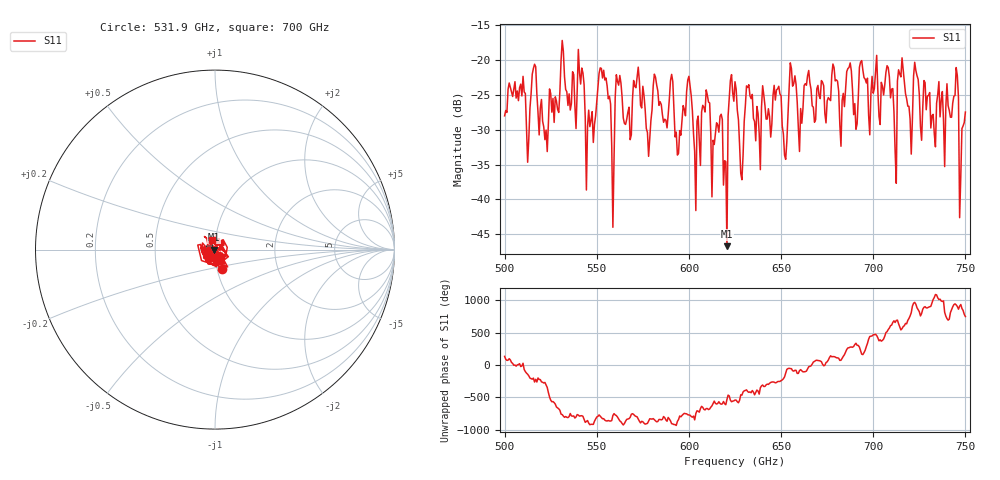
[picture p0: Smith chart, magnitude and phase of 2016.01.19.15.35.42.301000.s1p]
!Created with skrf (http://scikit-rf.org).
# GHz S RI R 50.0
!freq ReS11 ImS11
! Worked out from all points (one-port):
!   401 points, 500 GHz to 750 GHz, reference 50 ohm
!   lowest |S11| = -46.7 dB at 620.6 GHz (marker M1), VSWR 1.01, Z = 49.5 - j0.0465 ohm
!   |S11| at or under -10 dB: start of sweep to end of sweep
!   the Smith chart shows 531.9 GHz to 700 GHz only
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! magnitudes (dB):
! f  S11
! 500 GHz  -28.0
! 513.1 GHz  -31.3
! 516.2 GHz  -20.6
! 522.5 GHz  -30.1
! 531.2 GHz  -17.2
! 541.2 GHz  -23.4
! 545.6 GHz  -27.2
! 553.1 GHz  -22.6
! 558.1 GHz  -32.4
! 562.5 GHz  -22.2
! 578.1 GHz  -33.8
! 590.6 GHz  -22.0
! 593.8 GHz  -33.6
! 600 GHz  -22.3
! 603.1 GHz  -33.2
! 610 GHz  -25.0
! 620.6 GHz  -46.7
! 625 GHz  -23.1
! 628.1 GHz  -36.3
! 632.5 GHz  -23.5
! 637.5 GHz  -27.7
! 648.8 GHz  -23.8
! 651.9 GHz  -33.7
! 656.2 GHz  -23.7
! 660.6 GHz  -27.0
! 687.5 GHz  -20.4
! 718.8 GHz  -26.6
! 750 GHz  -27.5
